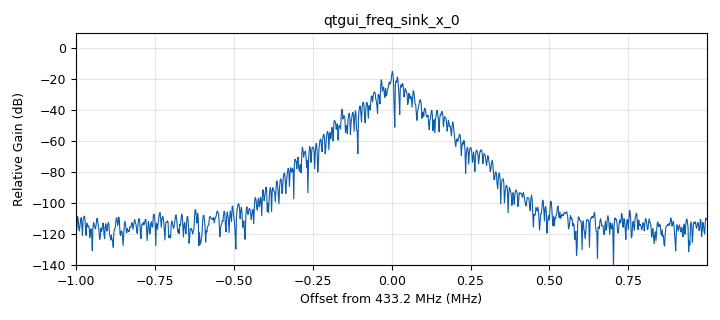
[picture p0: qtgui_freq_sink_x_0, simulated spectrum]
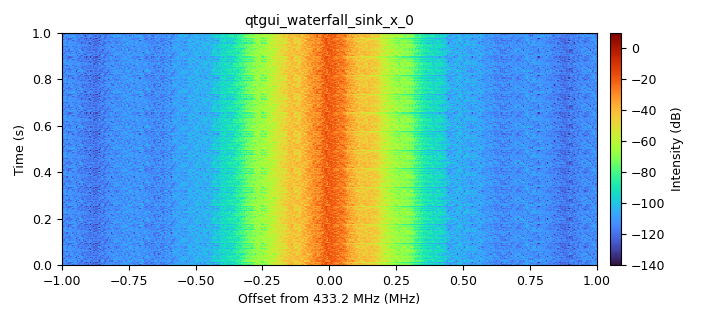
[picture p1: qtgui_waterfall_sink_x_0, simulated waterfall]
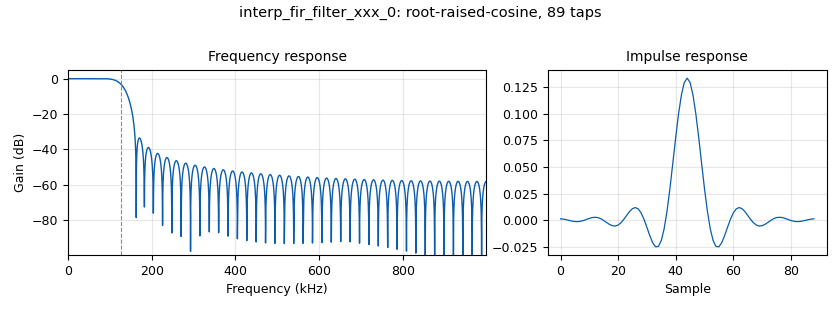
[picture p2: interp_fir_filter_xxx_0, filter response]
options:
  parameters:
    generate_options: qt_gui
    id: untitled
    output_language: python
    title: Not titled yet
  states: {}

blocks:
- name: alpha
  id: variable
  parameters:
    value: '0.25'
  states: {}
- name: center_freq
  id: variable
  parameters:
    value: 433.2e6
  states: {}
- name: freq_width
  id: variable
  parameters:
    value: 0.4e6
  states: {}
- name: pi
  id: variable
  parameters:
    value: '3.1415926'
  states: {}
- name: samp_rate
  id: variable
  parameters:
    value: int(2e6)
  states: {}
- name: sps
  id: variable
  parameters:
    value: int(samp_rate / symbol_rate)
  states: {}
- name: symbol_rate
  id: variable
  parameters:
    value: 250e3
  states: {}
- name: analog_frequency_modulator_fc_0
  id: analog_frequency_modulator_fc
  parameters:
    sensitivity: '0.54'
  states: {}
- name: analog_random_source_x_0
  id: analog_random_source_x
  parameters:
    max: '4'
    min: '0'
    num_samps: '10000'
    repeat: 'True'
    type: byte
  states: {}
- name: blocks_throttle_0
  id: blocks_throttle
  parameters:
    samples_per_second: samp_rate
    type: byte
  states: {}
- name: digital_chunks_to_symbols_xx_0
  id: digital_chunks_to_symbols_xx
  parameters:
    dimension: '2'
    in_type: byte
    out_type: float
    symbol_table: '[-3, -1, 1, 3]'
  states: {}
- name: iio_pluto_sink_0
  id: iio_pluto_sink
  parameters:
    attenuation1: '20'
    bandwidth: int(540000)
    buffer_size: '32768'
    cyclic: 'False'
    filter_source: '''Auto'''
    frequency: int(center_freq)
    samplerate: int(samp_rate)
    type: fc32
    uri: usb:3.11.5
  states: {}
- name: interp_fir_filter_xxx_0
  id: interp_fir_filter_xxx
  parameters:
    interp: '8'
    taps: |
      firdes.root_raised_cosine(1.0, samp_rate, symbol_rate, alpha, 88)
    type: fff
  states: {}
- name: qtgui_freq_sink_x_0
  id: qtgui_freq_sink_x
  parameters:
    bw: samp_rate
    fc: 433.2e6
    fftsize: '1024'
    type: complex
  states: {}
- name: qtgui_waterfall_sink_x_0
  id: qtgui_waterfall_sink_x
  parameters:
    bw: samp_rate
    fc: center_freq
    fftsize: '1024'
    type: complex
  states: {}

connections:
- [analog_frequency_modulator_fc_0, '0', iio_pluto_sink_0, '0']
- [analog_frequency_modulator_fc_0, '0', qtgui_freq_sink_x_0, '0']
- [analog_frequency_modulator_fc_0, '0', qtgui_waterfall_sink_x_0, '0']
- [analog_random_source_x_0, '0', blocks_throttle_0, '0']
- [blocks_throttle_0, '0', digital_chunks_to_symbols_xx_0, '0']
- [digital_chunks_to_symbols_xx_0, '0', interp_fir_filter_xxx_0, '0']
- [interp_fir_filter_xxx_0, '0', analog_frequency_modulator_fc_0, '0']

metadata:
  file_format: 1
